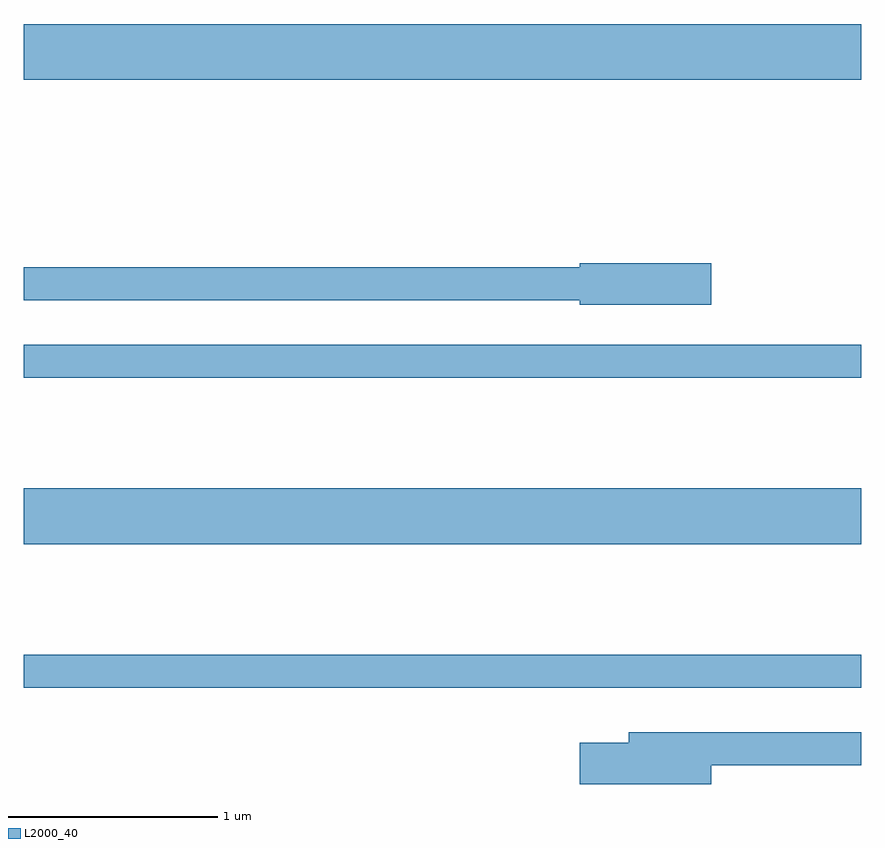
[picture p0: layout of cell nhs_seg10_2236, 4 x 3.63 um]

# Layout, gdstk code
import gdstk
lib = gdstk.Library(unit=1e-6, precision=1e-09)
def R(c, l, rs):  # rectangles x0, y0, x1, y1
    for r in rs: c.add(gdstk.rectangle(r[:2], r[2:], *l))
def P(c, l, *ps):  # polygons
    for p in ps: c.add(gdstk.Polygon(p, *l))
L2000_40 = (2000, 40)

nhs_seg10_2236 = lib.new_cell('nhs_seg10_2236')
R(nhs_seg10_2236, L2000_40, [(249.611,2215.351,253.611,2215.509), (249.611,2216.036,253.611,2216.304), (249.611,2216.831,253.611,2216.989), (249.611,2218.256,253.611,2218.522)])
P(nhs_seg10_2236, L2000_40, [(252.894,2217.379),(252.266,2217.379),(252.266,2217.359),(249.611,2217.359),(249.611,2217.201),(252.266,2217.201),(252.266,2217.181),(252.894,2217.181)],
  [(252.894,2214.981),(253.611,2214.981),(253.611,2215.139),(252.501,2215.139),(252.501,2215.089),(252.266,2215.089),(252.266,2214.891),(252.894,2214.891)])

lib.write_gds('nhs_seg10_2236.gds')
